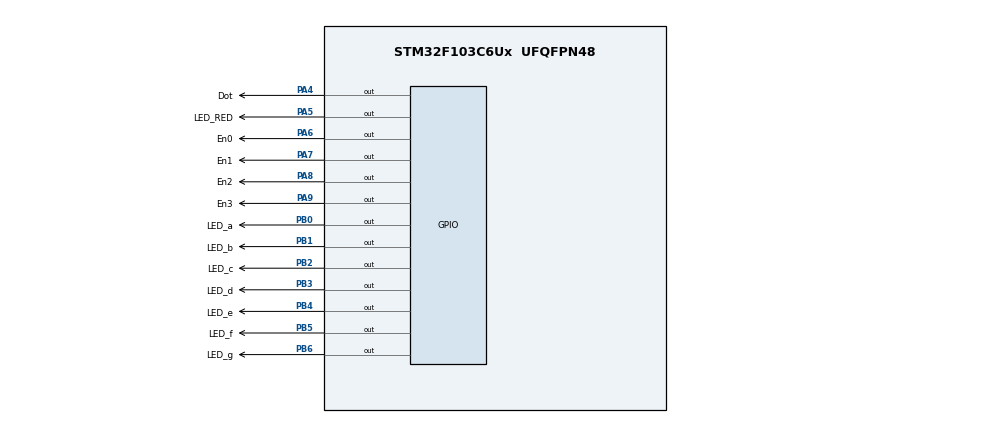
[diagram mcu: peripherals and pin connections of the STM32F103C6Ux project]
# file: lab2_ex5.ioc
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Mcu.Family=STM32F1
Mcu.Name=STM32F103C6Ux
Mcu.Package=UFQFPN48
NVIC.PriorityGroup=NVIC_PRIORITYGROUP_4
NVIC.TIM2_IRQn=true\:0\:0\:false\:false\:true\:true\:true\:true
PA4.GPIO_Label=Dot
PA4.Signal=GPIO_Output
PA5.GPIO_Label=LED_RED
PA5.Signal=GPIO_Output
PA6.GPIO_Label=En0
PA6.Signal=GPIO_Output
PA7.GPIO_Label=En1
PA7.Signal=GPIO_Output
PA8.GPIO_Label=En2
PA8.Signal=GPIO_Output
PA9.GPIO_Label=En3
PA9.Signal=GPIO_Output
PB0.GPIO_Label=LED_a
PB0.Signal=GPIO_Output
PB1.GPIO_Label=LED_b
PB1.Signal=GPIO_Output
PB2.GPIO_Label=LED_c
PB2.Signal=GPIO_Output
PB3.GPIO_Label=LED_d
PB3.Signal=GPIO_Output
PB4.GPIO_Label=LED_e
PB4.Signal=GPIO_Output
PB5.GPIO_Label=LED_f
PB5.Signal=GPIO_Output
PB6.GPIO_Label=LED_g
PB6.Signal=GPIO_Output
ProjectManager.HeapSize=0x200
ProjectManager.StackSize=0x400
ProjectManager.TargetToolchain=STM32CubeIDE
RCC.APB1Freq_Value=8000000
RCC.APB2Freq_Value=8000000
TIM2.Period=9
TIM2.Prescaler=7999
VP_SYS_VS_ND.Mode=No_Debug
VP_TIM2_VS_ClockSourceINT.Mode=Internal
board=custom

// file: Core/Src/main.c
/* USER CODE BEGIN Header */
/**
  ******************************************************************************
  * @file           : main.c
  * @brief          : Main program body
  ******************************************************************************
  * @attention
  *
  * Copyright (c) 2025 STMicroelectronics.
  * All rights reserved.
  *
  * This software is licensed under terms that can be found in the LICENSE file
  * in the root directory of this software component.
  * If no LICENSE file comes with this software, it is provided AS-IS.
  *
  ******************************************************************************
  */
/* USER CODE END Header */
#include "main.h"

/* USER CODE BEGIN Includes */
#include "software_timer.h"
/* USER CODE END Includes */

TIM_HandleTypeDef htim2;

void SystemClock_Config(void);
static void MX_GPIO_Init(void);
static void MX_TIM2_Init(void);

/* USER CODE BEGIN 0 */
void clear7SEG() {
    HAL_GPIO_WritePin(LED_a_GPIO_Port, LED_a_Pin, GPIO_PIN_SET);
    HAL_GPIO_WritePin(LED_b_GPIO_Port, LED_b_Pin, GPIO_PIN_SET);
    HAL_GPIO_WritePin(LED_c_GPIO_Port, LED_c_Pin, GPIO_PIN_SET);
    HAL_GPIO_WritePin(LED_d_GPIO_Port, LED_d_Pin, GPIO_PIN_SET);
    HAL_GPIO_WritePin(LED_e_GPIO_Port, LED_e_Pin, GPIO_PIN_SET);
    HAL_GPIO_WritePin(LED_f_GPIO_Port, LED_f_Pin, GPIO_PIN_SET);
    HAL_GPIO_WritePin(LED_g_GPIO_Port, LED_g_Pin, GPIO_PIN_SET);
}

void display7SEG(int num){
	  // common anode => set = off; reset= on
	  clear7SEG();
	  switch(num){
	  case 0:
		  HAL_GPIO_WritePin(LED_g_GPIO_Port, LED_g_Pin, SET);

		  HAL_GPIO_WritePin(LED_a_GPIO_Port, LED_a_Pin, RESET);
		  HAL_GPIO_WritePin(LED_b_GPIO_Port, LED_b_Pin, RESET);
		  HAL_GPIO_WritePin(LED_c_GPIO_Port, LED_c_Pin, RESET);
		  HAL_GPIO_WritePin(LED_d_GPIO_Port, LED_d_Pin, RESET);
		  HAL_GPIO_WritePin(LED_e_GPIO_Port, LED_e_Pin, RESET);
		  HAL_GPIO_WritePin(LED_f_GPIO_Port, LED_f_Pin, RESET);
		  break;

	  case 1:
		  HAL_GPIO_WritePin(LED_a_GPIO_Port, LED_a_Pin, SET);
		  HAL_GPIO_WritePin(LED_f_GPIO_Port, LED_f_Pin, SET);
		  HAL_GPIO_WritePin(LED_e_GPIO_Port, LED_e_Pin, SET);
		  HAL_GPIO_WritePin(LED_d_GPIO_Port, LED_d_Pin, SET);

		  HAL_GPIO_WritePin(LED_b_GPIO_Port, LED_b_Pin, RESET);
		  HAL_GPIO_WritePin(LED_c_GPIO_Port, LED_c_Pin, RESET);
		  break;
     case 2: // a b d e g sang
         HAL_GPIO_WritePin(LED_a_GPIO_Port, LED_a_Pin, GPIO_PIN_RESET);
         HAL_GPIO_WritePin(LED_b_GPIO_Port, LED_b_Pin, GPIO_PIN_RESET);
         HAL_GPIO_WritePin(LED_c_GPIO_Port, LED_c_Pin, GPIO_PIN_SET);
         HAL_GPIO_WritePin(LED_d_GPIO_Port, LED_d_Pin, GPIO_PIN_RESET);
         HAL_GPIO_WritePin(LED_e_GPIO_Port, LED_e_Pin, GPIO_PIN_RESET);
         HAL_GPIO_WritePin(LED_f_GPIO_Port, LED_f_Pin, GPIO_PIN_SET);
         HAL_GPIO_WritePin(LED_g_GPIO_Port, LED_g_Pin, GPIO_PIN_RESET);
         break;
     case 3: // a b c d g sang
         HAL_GPIO_WritePin(LED_a_GPIO_Port, LED_a_Pin, GPIO_PIN_RESET);
         HAL_GPIO_WritePin(LED_b_GPIO_Port, LED_b_Pin, GPIO_PIN_RESET);
         HAL_GPIO_WritePin(LED_c_GPIO_Port, LED_c_Pin, GPIO_PIN_RESET);
         HAL_GPIO_WritePin(LED_d_GPIO_Port, LED_d_Pin, GPIO_PIN_RESET);
         HAL_GPIO_WritePin(LED_e_GPIO_Port, LED_e_Pin, GPIO_PIN_SET);
         HAL_GPIO_WritePin(LED_f_GPIO_Port, LED_f_Pin, GPIO_PIN_SET);
         HAL_GPIO_WritePin(LED_g_GPIO_Port, LED_g_Pin, GPIO_PIN_RESET);
         break;

     case 4: // b c f g sang
         HAL_GPIO_WritePin(LED_a_GPIO_Port, LED_a_Pin, GPIO_PIN_SET);
         HAL_GPIO_WritePin(LED_b_GPIO_Port, LED_b_Pin, GPIO_PIN_RESET);
         HAL_GPIO_WritePin(LED_c_GPIO_Port, LED_c_Pin, GPIO_PIN_RESET);
         HAL_GPIO_WritePin(LED_d_GPIO_Port, LED_d_Pin, GPIO_PIN_SET);
         HAL_GPIO_WritePin(LED_e_GPIO_Port, LED_e_Pin, GPIO_PIN_SET);
         HAL_GPIO_WritePin(LED_f_GPIO_Port, LED_f_Pin, GPIO_PIN_RESET);
         HAL_GPIO_WritePin(LED_g_GPIO_Port, LED_g_Pin, GPIO_PIN_RESET);
         break;

     case 5: // a c d f g sang
         HAL_GPIO_WritePin(LED_a_GPIO_Port, LED_a_Pin, GPIO_PIN_RESET);
         HAL_GPIO_WritePin(LED_b_GPIO_Port, LED_b_Pin, GPIO_PIN_SET);
         HAL_GPIO_WritePin(LED_c_GPIO_Port, LED_c_Pin, GPIO_PIN_RESET);
         HAL_GPIO_WritePin(LED_d_GPIO_Port, LED_d_Pin, GPIO_PIN_RESET);
         HAL_GPIO_WritePin(LED_e_GPIO_Port, LED_e_Pin, GPIO_PIN_SET);
         HAL_GPIO_WritePin(LED_f_GPIO_Port, LED_f_Pin, GPIO_PIN_RESET);
         HAL_GPIO_WritePin(LED_g_GPIO_Port, LED_g_Pin, GPIO_PIN_RESET);
         break;

     case 6: // a c d e f g sang
         HAL_GPIO_WritePin(LED_a_GPIO_Port, LED_a_Pin, GPIO_PIN_RESET);
         HAL_GPIO_WritePin(LED_b_GPIO_Port, LED_b_Pin, GPIO_PIN_SET);
         HAL_GPIO_WritePin(LED_c_GPIO_Port, LED_c_Pin, GPIO_PIN_RESET);
         HAL_GPIO_WritePin(LED_d_GPIO_Port, LED_d_Pin, GPIO_PIN_RESET);
         HAL_GPIO_WritePin(LED_e_GPIO_Port, LED_e_Pin, GPIO_PIN_RESET);
         HAL_GPIO_WritePin(LED_f_GPIO_Port, LED_f_Pin, GPIO_PIN_RESET);
         HAL_GPIO_WritePin(LED_g_GPIO_Port, LED_g_Pin, GPIO_PIN_RESET);
         break;

     case 7: // a b c sang
         HAL_GPIO_WritePin(LED_a_GPIO_Port, LED_a_Pin, GPIO_PIN_RESET);
         HAL_GPIO_WritePin(LED_b_GPIO_Port, LED_b_Pin, GPIO_PIN_RESET);
         HAL_GPIO_WritePin(LED_c_GPIO_Port, LED_c_Pin, GPIO_PIN_RESET);
         HAL_GPIO_WritePin(LED_d_GPIO_Port, LED_d_Pin, GPIO_PIN_SET);
         HAL_GPIO_WritePin(LED_e_GPIO_Port, LED_e_Pin, GPIO_PIN_SET);
         HAL_GPIO_WritePin(LED_f_GPIO_Port, LED_f_Pin, GPIO_PIN_SET);
         HAL_GPIO_WritePin(LED_g_GPIO_Port, LED_g_Pin, GPIO_PIN_SET);
         break;

     case 8: // all
         HAL_GPIO_WritePin(LED_a_GPIO_Port, LED_a_Pin, GPIO_PIN_RESET);
         HAL_GPIO_WritePin(LED_b_GPIO_Port, LED_b_Pin, GPIO_PIN_RESET);
         HAL_GPIO_WritePin(LED_c_GPIO_Port, LED_c_Pin, GPIO_PIN_RESET);
         HAL_GPIO_WritePin(LED_d_GPIO_Port, LED_d_Pin, GPIO_PIN_RESET);
         HAL_GPIO_WritePin(LED_e_GPIO_Port, LED_e_Pin, GPIO_PIN_RESET);
         HAL_GPIO_WritePin(LED_f_GPIO_Port, LED_f_Pin, GPIO_PIN_RESET);
         HAL_GPIO_WritePin(LED_g_GPIO_Port, LED_g_Pin, GPIO_PIN_RESET);
         break;

     case 9: // a b c d f g sang
         HAL_GPIO_WritePin(LED_a_GPIO_Port, LED_a_Pin, GPIO_PIN_RESET);
         HAL_GPIO_WritePin(LED_b_GPIO_Port, LED_b_Pin, GPIO_PIN_RESET);
         HAL_GPIO_WritePin(LED_c_GPIO_Port, LED_c_Pin, GPIO_PIN_RESET);
         HAL_GPIO_WritePin(LED_d_GPIO_Port, LED_d_Pin, GPIO_PIN_RESET);
         HAL_GPIO_WritePin(LED_e_GPIO_Port, LED_e_Pin, GPIO_PIN_SET);
         HAL_GPIO_WritePin(LED_f_GPIO_Port, LED_f_Pin, GPIO_PIN_RESET);
         HAL_GPIO_WritePin(LED_g_GPIO_Port, LED_g_Pin, GPIO_PIN_RESET);
         break;
	  }
 }

int hour = 23, minute = 59, second = 59;
const unsigned int MAX_LED = 4;
int led_buffer[4];
void update7SEG ( int index ){
	switch (index) {
		case 0:
			display7SEG(led_buffer[0]);
			HAL_GPIO_WritePin(En0_GPIO_Port, En0_Pin, GPIO_PIN_RESET);
			HAL_GPIO_WritePin(En1_GPIO_Port, En1_Pin, GPIO_PIN_SET);
			HAL_GPIO_WritePin(En2_GPIO_Port, En2_Pin, GPIO_PIN_SET);
			HAL_GPIO_WritePin(En3_GPIO_Port, En3_Pin, GPIO_PIN_SET);
			break;
		case 1:
			display7SEG(led_buffer[1]);
			HAL_GPIO_WritePin(En0_GPIO_Port, En0_Pin, GPIO_PIN_SET);
			HAL_GPIO_WritePin(En1_GPIO_Port, En1_Pin, GPIO_PIN_RESET);
			HAL_GPIO_WritePin(En2_GPIO_Port, En2_Pin, GPIO_PIN_SET);
			HAL_GPIO_WritePin(En3_GPIO_Port, En3_Pin, GPIO_PIN_SET);
			break;
		case 2:
			display7SEG(led_buffer[2]);
			HAL_GPIO_WritePin(En0_GPIO_Port, En0_Pin, GPIO_PIN_SET);
			HAL_GPIO_WritePin(En1_GPIO_Port, En1_Pin, GPIO_PIN_SET);
			HAL_GPIO_WritePin(En2_GPIO_Port, En2_Pin, GPIO_PIN_RESET);
			HAL_GPIO_WritePin(En3_GPIO_Port, En3_Pin, GPIO_PIN_SET);
			break;
		case 3:
			display7SEG(led_buffer[3]);
			HAL_GPIO_WritePin(En0_GPIO_Port, En0_Pin, GPIO_PIN_SET);
			HAL_GPIO_WritePin(En1_GPIO_Port, En1_Pin, GPIO_PIN_SET);
			HAL_GPIO_WritePin(En2_GPIO_Port, En2_Pin, GPIO_PIN_SET);
			HAL_GPIO_WritePin(En3_GPIO_Port, En3_Pin, GPIO_PIN_RESET);
			break;
		default:
			HAL_GPIO_WritePin(En0_GPIO_Port, En0_Pin, GPIO_PIN_RESET);
			HAL_GPIO_WritePin(En1_GPIO_Port, En1_Pin, GPIO_PIN_RESET);
			HAL_GPIO_WritePin(En2_GPIO_Port, En2_Pin, GPIO_PIN_RESET);
			HAL_GPIO_WritePin(En3_GPIO_Port, En3_Pin, GPIO_PIN_RESET);
			break;
	}
}

void updateClockBuffer() {
	led_buffer[0] = hour / 10;
	led_buffer[1] = hour % 10;
	led_buffer[2] = minute / 10;
	led_buffer[3] = minute % 10;
}

/* USER CODE END 0 */

int main(void)
{

  /* MCU Configuration--------------------------------------------------------*/

  /* Reset of all peripherals, Initializes the Flash interface and the Systick. */
  HAL_Init();

  /* Configure the system clock */
  SystemClock_Config();

  /* Initialize all configured peripherals */
  MX_GPIO_Init();
  MX_TIM2_Init();
  /* USER CODE BEGIN 2 */
  HAL_TIM_Base_Start_IT (&htim2);
  /* USER CODE END 2 */

  /* Infinite loop */
  /* USER CODE BEGIN WHILE */
  const unsigned int SCALE = 500;
  int counter = SCALE;
  unsigned int index_led = 0;
  int dot_counter=0;
setTimer1(1000);

updateClockBuffer();
  while (1)
  {
    /* USER CODE END WHILE */
      if(timer1_flag == 1){
          timer1_flag = 0;       // reset flag
          HAL_GPIO_TogglePin(LED_RED_GPIO_Port, LED_RED_Pin);
          second++;
                  if (second >= 60) {
                      second = 0;
                      minute++;
                      if (minute >= 60) {
                          minute = 0;
                          hour++;
                          if (hour >= 24) {
                              hour = 0;   // reset về 00:00:00
                          }
                      }
                  }

                  // ----- Cập nhật giá trị ra led_buffer -----
                  updateClockBuffer();

                  setTimer1(1000);  // reset timer 1 giây
              }

      if(counter == SCALE || counter == (SCALE*3/4) || counter == (SCALE*2/4) || counter == (SCALE*1/4)){
          update7SEG(index_led++);
          if(index_led >= MAX_LED) index_led = 0;
      }
      counter = (counter > 0) ? counter - 1 : SCALE;

      dot_counter++;
      if(dot_counter >= 500){
          HAL_GPIO_TogglePin(Dot_GPIO_Port, Dot_Pin);
          dot_counter = 0;
      }

      // Thêm 1 delay nhỏ nếu muốn tránh chạy quá nhanh
      HAL_Delay(1);  // 1 ms
  }
  /* USER CODE END 3 */
}

void SystemClock_Config(void)
{
  RCC_OscInitTypeDef RCC_OscInitStruct = {0};
  RCC_ClkInitTypeDef RCC_ClkInitStruct = {0};

  /** Initializes the RCC Oscillators according to the specified parameters
  * in the RCC_OscInitTypeDef structure.
  */
  RCC_OscInitStruct.OscillatorType = RCC_OSCILLATORTYPE_HSI;
  RCC_OscInitStruct.HSIState = RCC_HSI_ON;
  RCC_OscInitStruct.HSICalibrationValue = RCC_HSICALIBRATION_DEFAULT;
  RCC_OscInitStruct.PLL.PLLState = RCC_PLL_NONE;
  if (HAL_RCC_OscConfig(&RCC_OscInitStruct) != HAL_OK)
  {
    Error_Handler();
  }

  /** Initializes the CPU, AHB and APB buses clocks
  */
  RCC_ClkInitStruct.ClockType = RCC_CLOCKTYPE_HCLK|RCC_CLOCKTYPE_SYSCLK
                              |RCC_CLOCKTYPE_PCLK1|RCC_CLOCKTYPE_PCLK2;
  RCC_ClkInitStruct.SYSCLKSource = RCC_SYSCLKSOURCE_HSI;
  RCC_ClkInitStruct.AHBCLKDivider = RCC_SYSCLK_DIV1;
  RCC_ClkInitStruct.APB1CLKDivider = RCC_HCLK_DIV1;
  RCC_ClkInitStruct.APB2CLKDivider = RCC_HCLK_DIV1;

  if (HAL_RCC_ClockConfig(&RCC_ClkInitStruct, FLASH_LATENCY_0) != HAL_OK)
  {
    Error_Handler();
  }
}

static void MX_TIM2_Init(void)
{

  TIM_ClockConfigTypeDef sClockSourceConfig = {0};
  TIM_MasterConfigTypeDef sMasterConfig = {0};

  htim2.Instance = TIM2;
  htim2.Init.Prescaler = 7999;
  htim2.Init.CounterMode = TIM_COUNTERMODE_UP;
  htim2.Init.Period = 9;
  htim2.Init.ClockDivision = TIM_CLOCKDIVISION_DIV1;
  htim2.Init.AutoReloadPreload = TIM_AUTORELOAD_PRELOAD_DISABLE;
  if (HAL_TIM_Base_Init(&htim2) != HAL_OK)
  {
    Error_Handler();
  }
  sClockSourceConfig.ClockSource = TIM_CLOCKSOURCE_INTERNAL;
  if (HAL_TIM_ConfigClockSource(&htim2, &sClockSourceConfig) != HAL_OK)
  {
    Error_Handler();
  }
  sMasterConfig.MasterOutputTrigger = TIM_TRGO_RESET;
  sMasterConfig.MasterSlaveMode = TIM_MASTERSLAVEMODE_DISABLE;
  if (HAL_TIMEx_MasterConfigSynchronization(&htim2, &sMasterConfig) != HAL_OK)
  {
    Error_Handler();
  }

}

static void MX_GPIO_Init(void)
{
  GPIO_InitTypeDef GPIO_InitStruct = {0};

  /* GPIO Ports Clock Enable */
  __HAL_RCC_GPIOA_CLK_ENABLE();
  __HAL_RCC_GPIOB_CLK_ENABLE();

  /*Configure GPIO pin Output Level */
  HAL_GPIO_WritePin(GPIOA, Dot_Pin|LED_RED_Pin|En0_Pin|En1_Pin
                          |En2_Pin|En3_Pin, GPIO_PIN_RESET);

  /*Configure GPIO pin Output Level */
  HAL_GPIO_WritePin(GPIOB, LED_a_Pin|LED_b_Pin|LED_c_Pin|LED_d_Pin
                          |LED_e_Pin|LED_f_Pin|LED_g_Pin, GPIO_PIN_RESET);

  /*Configure GPIO pins : Dot_Pin LED_RED_Pin En0_Pin En1_Pin
                           En2_Pin En3_Pin */
  GPIO_InitStruct.Pin = Dot_Pin|LED_RED_Pin|En0_Pin|En1_Pin
                          |En2_Pin|En3_Pin;
  GPIO_InitStruct.Mode = GPIO_MODE_OUTPUT_PP;
  GPIO_InitStruct.Pull = GPIO_NOPULL;
  GPIO_InitStruct.Speed = GPIO_SPEED_FREQ_LOW;
  HAL_GPIO_Init(GPIOA, &GPIO_InitStruct);

  /*Configure GPIO pins : LED_a_Pin LED_b_Pin LED_c_Pin LED_d_Pin
                           LED_e_Pin LED_f_Pin LED_g_Pin */
  GPIO_InitStruct.Pin = LED_a_Pin|LED_b_Pin|LED_c_Pin|LED_d_Pin
                          |LED_e_Pin|LED_f_Pin|LED_g_Pin;
  GPIO_InitStruct.Mode = GPIO_MODE_OUTPUT_PP;
  GPIO_InitStruct.Pull = GPIO_NOPULL;
  GPIO_InitStruct.Speed = GPIO_SPEED_FREQ_LOW;
  HAL_GPIO_Init(GPIOB, &GPIO_InitStruct);

}

/* USER CODE BEGIN 4 */

void HAL_TIM_PeriodElapsedCallback ( TIM_HandleTypeDef * htim )
{
	timerRun();

}
/* USER CODE END 4 */

void Error_Handler(void)
{
  __disable_irq();
  while (1)
  {
  }
}
